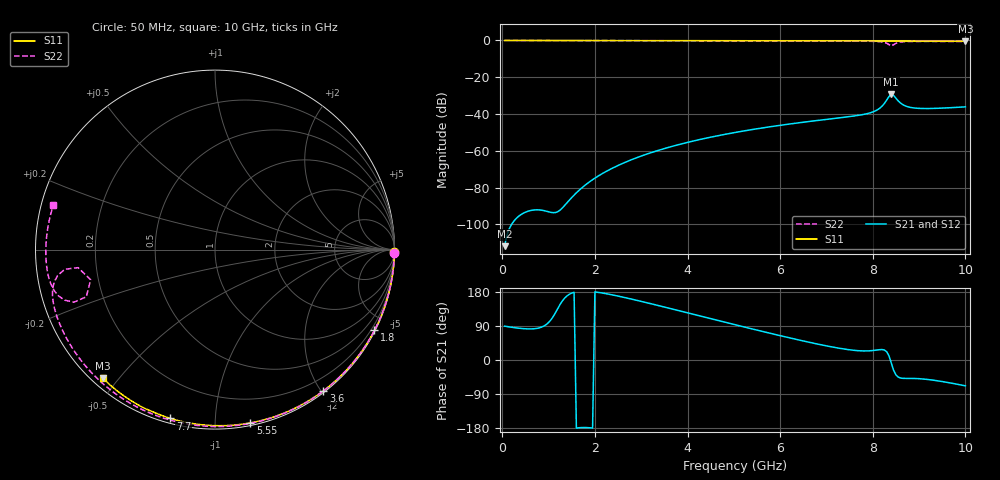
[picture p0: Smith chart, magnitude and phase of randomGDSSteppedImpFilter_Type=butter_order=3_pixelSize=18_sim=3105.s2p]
! freq	dB(S11)	phase(S11)	dB(S12)	phase(S12)
!  dB(S21)	phase(S21)	dB(S22)	phase(S22)
!S-par simulation data
#  GHz  S  DB  R 50
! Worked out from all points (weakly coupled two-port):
!   200 points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, 50 MHz to 10 GHz, reference 50 ohm
!   highest |S21| = -29.37 dB at 8.4 GHz (marker M1); lowest = -111.9 dB at 50 MHz (marker M2)
!   lowest |S11| = -0.4 dB at 10 GHz (marker M3), VSWR 39.46, Z = 1.53 - j22.7 ohm
!   |S11| at or under -10 dB: nowhere
!   |S22| runs from -2.9 to 0.0 dB; largest |S21 - S12| = 0
!   S11 on the Smith chart (normalised r, x): 50 MHz: open; 1.8 GHz: 0.04, -4.19; 3.6 GHz: 0.02, -2.03; 5.55 GHz: 0.02, -1.22; 7.7 GHz: 0.02, -0.77; 10 GHz: 0.03, -0.45
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0.05  -0.00 -0.8  -111.89 89.4  -111.89 89.4  -0.00 -1.2
0.85  -0.02 -12.8  -92.33 86.9  -92.33 86.9  -0.02 -19.7
1.75  -0.03 -26.1  -79.49 -178.1  -79.49 -178.1  -0.05 -40.0
1.8  -0.03 -26.9  -78.48 -178.2  -78.48 -178.2  -0.05 -41.1
2.1  -0.04 -31.2  -73.30 178.0  -73.30 178.0  -0.06 -47.7
2.5  -0.05 -37.0  -67.99 168.7  -67.99 168.7  -0.07 -56.4
3.4  -0.07 -49.8  -59.55 142.8  -59.55 142.8  -0.10 -75.1
3.6  -0.07 -52.5  -58.08 136.7  -58.08 136.7  -0.10 -79.2
5.05  -0.11 -72.0  -49.94 92.3  -49.94 92.3  -0.16 -107.2
5.55  -0.13 -78.5  -47.84 77.4  -47.84 77.4  -0.19 -116.4
6.7  -0.18 -92.8  -43.84 44.8  -43.84 44.8  -0.26 -137.2
7.7  -0.24 -104.8  -40.69 24.4  -40.69 24.4  -0.37 -155.8
8.1  -0.27 -109.5  -37.73 26.5  -37.73 26.5  -0.57 -165.3
8.25  -0.29 -111.2  -34.29 26.4  -34.29 26.4  -1.02 -170.7
8.35  -0.29 -112.3  -30.51 11.0  -30.51 11.0  -2.28 -172.5
8.4  -0.29 -112.8  -29.37 -7.7  -29.37 -7.7  -2.94 -166.4
8.45  -0.28 -113.4  -29.93 -27.1  -29.93 -27.1  -2.34 -159.9
8.5  -0.29 -114.0  -31.43 -39.3  -31.43 -39.3  -1.53 -159.6
8.65  -0.30 -115.8  -34.92 -48.4  -34.92 -48.4  -0.70 -165.3
8.85  -0.32 -118.1  -36.58 -48.6  -36.58 -48.6  -0.54 -171.0
9.25  -0.36 -122.7  -37.01 -52.3  -37.01 -52.3  -0.51 -179.9
10  -0.44 -131.1  -36.12 -68.2  -36.12 -68.2  -0.59 164.8
